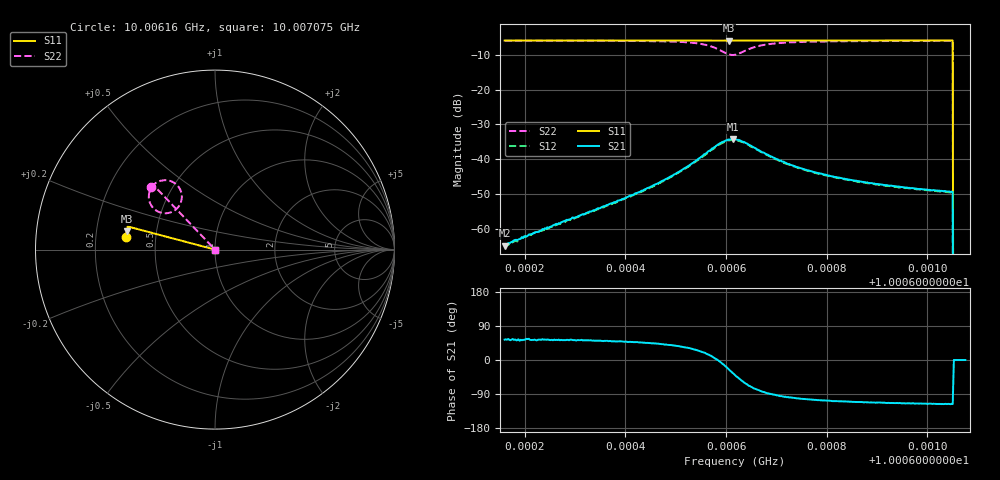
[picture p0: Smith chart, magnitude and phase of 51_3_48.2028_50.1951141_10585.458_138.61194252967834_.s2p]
#  HZ  S  RI  R  50.00
! Rohde & Schwarz Vector Network Analyzer
! Rohde-Schwarz,ZNB20-2Port,1311601062101988,3.16
! Created: UTC 3/20/2024, 11:38:17 AM
! freq[Hz]  re:S11  im:S11  re:S21  im:S21  re:S12  im:S12  re:S22  im:S22
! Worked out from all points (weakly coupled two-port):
!   401 points, 10.00616 GHz to 10.007075 GHz, reference 50 ohm
!   highest |S21| = -34.19 dB at 10.006613 GHz (marker M1); lowest = -64.6 dB at 10.00616 GHz (marker M2)
!   lowest |S11| = -6.0 dB at 10.006606 GHz (marker M3), VSWR 3.01, Z = 16.8 + j4.52 ohm
!   |S11| at or under -10 dB: 10.00705 GHz to end of sweep
!   |S22| runs from - to -6.0 dB; largest |S21 - S12| = 0.0014
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1.00061599e10  -0.4965 0.0727  0.000347 0.000472  0.000324 0.000502  -0.3573 0.3487
1.00061644e10  -0.4965 0.0729  0.000355 0.000483  0.000312 0.000513  -0.3568 0.3492
1.00061988e10  -0.4963 0.0754  0.000476 0.000634  0.000437 0.000643  -0.3544 0.3519
1.00063132e10  -0.4953 0.0829  0.000969 0.00129  0.000886 0.00129  -0.3428 0.3622
1.00063956e10  -0.4944 0.0881  0.00181 0.00205  0.00165 0.0021  -0.3297 0.3716
1.00064666e10  -0.4937 0.0929  0.00341 0.00315  0.00321 0.00323  -0.3088 0.3816
1.00065147e10  -0.4928 0.0961  0.00599 0.00405  0.00563 0.00429  -0.2803 0.3869
1.00065581e10  -0.4917 0.0989  0.0113 0.00388  0.0108 0.00413  -0.2285 0.3731
1.00065879e10  -0.4908 0.1004  0.017 -0.0014  0.0165 -0.000539  -0.1867 0.3138
1.00066062e10  -0.4904 0.1009  0.0172 -0.00844  0.0173 -0.00709  -0.1969 0.2487
1.00066131e10  -0.4904 0.1011  0.0162 -0.0109  0.0162 -0.00983  -0.2137 0.2272
1.00066177e10  -0.4904 0.1013  0.015 -0.0124  0.0153 -0.0112  -0.228 0.2164
1.0006636e10  -0.4907 0.102  0.00895 -0.0153  0.00964 -0.0143  -0.29 0.2032
1.0006652e10  -0.4911 0.103  0.00463 -0.0145  0.00535 -0.014  -0.3292 0.2187
1.00066703e10  -0.4912 0.1041  0.00157 -0.0127  0.00222 -0.0125  -0.3531 0.2428
1.00067184e10  -0.491 0.1075  -0.00107 -0.00882  -0.000732 -0.00867  -0.3688 0.2895
1.0006771e10  -0.4904 0.1112  -0.0017 -0.0065  -0.00136 -0.00644  -0.3665 0.3155
1.00068374e10  -0.4897 0.1154  -0.00173 -0.00493  -0.00147 -0.00493  -0.3606 0.3337
1.00069244e10  -0.4886 0.1213  -0.00167 -0.00386  -0.00145 -0.00388  -0.353 0.3475
1.00070457e10  -0.4867 0.1287  -0.00153 -0.00307  -0.00135 -0.00308  -0.3443 0.3601
1.00070571e10  0 0  0 0  0 0  0 0
1.00070754e10  0 0  0 0  0 0  0 0
